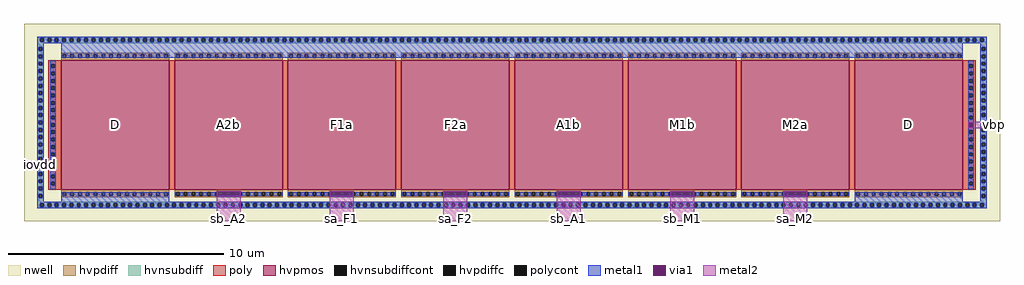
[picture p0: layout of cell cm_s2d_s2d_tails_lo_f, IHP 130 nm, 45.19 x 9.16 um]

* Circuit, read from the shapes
.subckt cm_s2d_s2d_tails_lo_f iovdd sb_A2 sa_F1 sa_F2 sb_A1 sb_M1 sa_M2 vbp
XM1 iovdd vbp iovdd iovdd sg13_hv_pmos w=5u l=6u m=2
XM2 iovdd vbp sb_A2 iovdd sg13_hv_pmos w=5u l=6u
XM3 iovdd vbp sa_F1 iovdd sg13_hv_pmos w=5u l=6u
XM4 iovdd vbp sa_F2 iovdd sg13_hv_pmos w=5u l=6u
XM5 iovdd vbp sb_A1 iovdd sg13_hv_pmos w=5u l=6u
XM6 iovdd vbp sb_M1 iovdd sg13_hv_pmos w=5u l=6u
XM7 iovdd vbp sa_M2 iovdd sg13_hv_pmos w=5u l=6u
.ends

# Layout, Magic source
magic
tech ihp-sg13cmos5l
magscale 1 2
<< nwell >>
rect 0 0 9038 1832
<< hvnsubdiff >>
rect 124 1694 8914 1708
rect 124 1662 151 1694
rect 183 1662 219 1694
rect 251 1662 287 1694
rect 319 1662 355 1694
rect 387 1662 423 1694
rect 455 1662 491 1694
rect 523 1662 559 1694
rect 591 1662 627 1694
rect 659 1662 695 1694
rect 727 1662 763 1694
rect 795 1662 831 1694
rect 863 1662 899 1694
rect 931 1662 967 1694
rect 999 1662 1035 1694
rect 1067 1662 1103 1694
rect 1135 1662 1171 1694
rect 1203 1662 1239 1694
rect 1271 1662 1307 1694
rect 1339 1662 1375 1694
rect 1407 1662 1443 1694
rect 1475 1662 1511 1694
rect 1543 1662 1579 1694
rect 1611 1662 1647 1694
rect 1679 1662 1715 1694
rect 1747 1662 1783 1694
rect 1815 1662 1851 1694
rect 1883 1662 1919 1694
rect 1951 1662 1987 1694
rect 2019 1662 2055 1694
rect 2087 1662 2123 1694
rect 2155 1662 2191 1694
rect 2223 1662 2259 1694
rect 2291 1662 2327 1694
rect 2359 1662 2395 1694
rect 2427 1662 2463 1694
rect 2495 1662 2531 1694
rect 2563 1662 2599 1694
rect 2631 1662 2667 1694
rect 2699 1662 2735 1694
rect 2767 1662 2803 1694
rect 2835 1662 2871 1694
rect 2903 1662 2939 1694
rect 2971 1662 3007 1694
rect 3039 1662 3075 1694
rect 3107 1662 3143 1694
rect 3175 1662 3211 1694
rect 3243 1662 3279 1694
rect 3311 1662 3347 1694
rect 3379 1662 3415 1694
rect 3447 1662 3483 1694
rect 3515 1662 3551 1694
rect 3583 1662 3619 1694
rect 3651 1662 3687 1694
rect 3719 1662 3755 1694
rect 3787 1662 3823 1694
rect 3855 1662 3891 1694
rect 3923 1662 3959 1694
rect 3991 1662 4027 1694
rect 4059 1662 4095 1694
rect 4127 1662 4163 1694
rect 4195 1662 4231 1694
rect 4263 1662 4299 1694
rect 4331 1662 4367 1694
rect 4399 1662 4435 1694
rect 4467 1662 4503 1694
rect 4535 1662 4571 1694
rect 4603 1662 4639 1694
rect 4671 1662 4707 1694
rect 4739 1662 4775 1694
rect 4807 1662 4843 1694
rect 4875 1662 4911 1694
rect 4943 1662 4979 1694
rect 5011 1662 5047 1694
rect 5079 1662 5115 1694
rect 5147 1662 5183 1694
rect 5215 1662 5251 1694
rect 5283 1662 5319 1694
rect 5351 1662 5387 1694
rect 5419 1662 5455 1694
rect 5487 1662 5523 1694
rect 5555 1662 5591 1694
rect 5623 1662 5659 1694
rect 5691 1662 5727 1694
rect 5759 1662 5795 1694
rect 5827 1662 5863 1694
rect 5895 1662 5931 1694
rect 5963 1662 5999 1694
rect 6031 1662 6067 1694
rect 6099 1662 6135 1694
rect 6167 1662 6203 1694
rect 6235 1662 6271 1694
rect 6303 1662 6339 1694
rect 6371 1662 6407 1694
rect 6439 1662 6475 1694
rect 6507 1662 6543 1694
rect 6575 1662 6611 1694
rect 6643 1662 6679 1694
rect 6711 1662 6747 1694
rect 6779 1662 6815 1694
rect 6847 1662 6883 1694
rect 6915 1662 6951 1694
rect 6983 1662 7019 1694
rect 7051 1662 7087 1694
rect 7119 1662 7155 1694
rect 7187 1662 7223 1694
rect 7255 1662 7291 1694
rect 7323 1662 7359 1694
rect 7391 1662 7427 1694
rect 7459 1662 7495 1694
rect 7527 1662 7563 1694
rect 7595 1662 7631 1694
rect 7663 1662 7699 1694
rect 7731 1662 7767 1694
rect 7799 1662 7835 1694
rect 7867 1662 7903 1694
rect 7935 1662 7971 1694
rect 8003 1662 8039 1694
rect 8071 1662 8107 1694
rect 8139 1662 8175 1694
rect 8207 1662 8243 1694
rect 8275 1662 8311 1694
rect 8343 1662 8379 1694
rect 8411 1662 8447 1694
rect 8479 1662 8515 1694
rect 8547 1662 8583 1694
rect 8615 1662 8651 1694
rect 8683 1662 8719 1694
rect 8751 1662 8787 1694
rect 8819 1662 8855 1694
rect 8887 1662 8914 1694
rect 124 1648 8914 1662
rect 124 1612 184 1648
rect 124 1580 138 1612
rect 170 1580 184 1612
rect 124 1544 184 1580
rect 124 1512 138 1544
rect 170 1512 184 1544
rect 124 1476 184 1512
rect 8854 1612 8914 1648
rect 8854 1580 8868 1612
rect 8900 1580 8914 1612
rect 8854 1544 8914 1580
rect 8854 1512 8868 1544
rect 8900 1512 8914 1544
rect 124 1444 138 1476
rect 170 1444 184 1476
rect 124 1408 184 1444
rect 124 1376 138 1408
rect 170 1376 184 1408
rect 124 1340 184 1376
rect 124 1308 138 1340
rect 170 1308 184 1340
rect 124 1272 184 1308
rect 124 1240 138 1272
rect 170 1240 184 1272
rect 124 1204 184 1240
rect 124 1172 138 1204
rect 170 1172 184 1204
rect 124 1136 184 1172
rect 124 1104 138 1136
rect 170 1104 184 1136
rect 124 1068 184 1104
rect 124 1036 138 1068
rect 170 1036 184 1068
rect 124 1000 184 1036
rect 124 968 138 1000
rect 170 968 184 1000
rect 124 932 184 968
rect 124 900 138 932
rect 170 900 184 932
rect 124 864 184 900
rect 124 832 138 864
rect 170 832 184 864
rect 124 796 184 832
rect 124 764 138 796
rect 170 764 184 796
rect 124 728 184 764
rect 124 696 138 728
rect 170 696 184 728
rect 124 660 184 696
rect 124 628 138 660
rect 170 628 184 660
rect 124 592 184 628
rect 124 560 138 592
rect 170 560 184 592
rect 124 524 184 560
rect 124 492 138 524
rect 170 492 184 524
rect 124 456 184 492
rect 124 424 138 456
rect 170 424 184 456
rect 124 388 184 424
rect 124 356 138 388
rect 170 356 184 388
rect 124 320 184 356
rect 124 288 138 320
rect 170 288 184 320
rect 8854 1476 8914 1512
rect 8854 1444 8868 1476
rect 8900 1444 8914 1476
rect 8854 1408 8914 1444
rect 8854 1376 8868 1408
rect 8900 1376 8914 1408
rect 8854 1340 8914 1376
rect 8854 1308 8868 1340
rect 8900 1308 8914 1340
rect 8854 1272 8914 1308
rect 8854 1240 8868 1272
rect 8900 1240 8914 1272
rect 8854 1204 8914 1240
rect 8854 1172 8868 1204
rect 8900 1172 8914 1204
rect 8854 1136 8914 1172
rect 8854 1104 8868 1136
rect 8900 1104 8914 1136
rect 8854 1068 8914 1104
rect 8854 1036 8868 1068
rect 8900 1036 8914 1068
rect 8854 1000 8914 1036
rect 8854 968 8868 1000
rect 8900 968 8914 1000
rect 8854 932 8914 968
rect 8854 900 8868 932
rect 8900 900 8914 932
rect 8854 864 8914 900
rect 8854 832 8868 864
rect 8900 832 8914 864
rect 8854 796 8914 832
rect 8854 764 8868 796
rect 8900 764 8914 796
rect 8854 728 8914 764
rect 8854 696 8868 728
rect 8900 696 8914 728
rect 8854 660 8914 696
rect 8854 628 8868 660
rect 8900 628 8914 660
rect 8854 592 8914 628
rect 8854 560 8868 592
rect 8900 560 8914 592
rect 8854 524 8914 560
rect 8854 492 8868 524
rect 8900 492 8914 524
rect 8854 456 8914 492
rect 8854 424 8868 456
rect 8900 424 8914 456
rect 8854 388 8914 424
rect 8854 356 8868 388
rect 8900 356 8914 388
rect 8854 320 8914 356
rect 124 252 184 288
rect 124 220 138 252
rect 170 220 184 252
rect 124 184 184 220
rect 8854 288 8868 320
rect 8900 288 8914 320
rect 8854 252 8914 288
rect 8854 220 8868 252
rect 8900 220 8914 252
rect 8854 184 8914 220
rect 124 170 8914 184
rect 124 138 151 170
rect 183 138 219 170
rect 251 138 287 170
rect 319 138 355 170
rect 387 138 423 170
rect 455 138 491 170
rect 523 138 559 170
rect 591 138 627 170
rect 659 138 695 170
rect 727 138 763 170
rect 795 138 831 170
rect 863 138 899 170
rect 931 138 967 170
rect 999 138 1035 170
rect 1067 138 1103 170
rect 1135 138 1171 170
rect 1203 138 1239 170
rect 1271 138 1307 170
rect 1339 138 1375 170
rect 1407 138 1443 170
rect 1475 138 1511 170
rect 1543 138 1579 170
rect 1611 138 1647 170
rect 1679 138 1715 170
rect 1747 138 1783 170
rect 1815 138 1851 170
rect 1883 138 1919 170
rect 1951 138 1987 170
rect 2019 138 2055 170
rect 2087 138 2123 170
rect 2155 138 2191 170
rect 2223 138 2259 170
rect 2291 138 2327 170
rect 2359 138 2395 170
rect 2427 138 2463 170
rect 2495 138 2531 170
rect 2563 138 2599 170
rect 2631 138 2667 170
rect 2699 138 2735 170
rect 2767 138 2803 170
rect 2835 138 2871 170
rect 2903 138 2939 170
rect 2971 138 3007 170
rect 3039 138 3075 170
rect 3107 138 3143 170
rect 3175 138 3211 170
rect 3243 138 3279 170
rect 3311 138 3347 170
rect 3379 138 3415 170
rect 3447 138 3483 170
rect 3515 138 3551 170
rect 3583 138 3619 170
rect 3651 138 3687 170
rect 3719 138 3755 170
rect 3787 138 3823 170
rect 3855 138 3891 170
rect 3923 138 3959 170
rect 3991 138 4027 170
rect 4059 138 4095 170
rect 4127 138 4163 170
rect 4195 138 4231 170
rect 4263 138 4299 170
rect 4331 138 4367 170
rect 4399 138 4435 170
rect 4467 138 4503 170
rect 4535 138 4571 170
rect 4603 138 4639 170
rect 4671 138 4707 170
rect 4739 138 4775 170
rect 4807 138 4843 170
rect 4875 138 4911 170
rect 4943 138 4979 170
rect 5011 138 5047 170
rect 5079 138 5115 170
rect 5147 138 5183 170
rect 5215 138 5251 170
rect 5283 138 5319 170
rect 5351 138 5387 170
rect 5419 138 5455 170
rect 5487 138 5523 170
rect 5555 138 5591 170
rect 5623 138 5659 170
rect 5691 138 5727 170
rect 5759 138 5795 170
rect 5827 138 5863 170
rect 5895 138 5931 170
rect 5963 138 5999 170
rect 6031 138 6067 170
rect 6099 138 6135 170
rect 6167 138 6203 170
rect 6235 138 6271 170
rect 6303 138 6339 170
rect 6371 138 6407 170
rect 6439 138 6475 170
rect 6507 138 6543 170
rect 6575 138 6611 170
rect 6643 138 6679 170
rect 6711 138 6747 170
rect 6779 138 6815 170
rect 6847 138 6883 170
rect 6915 138 6951 170
rect 6983 138 7019 170
rect 7051 138 7087 170
rect 7119 138 7155 170
rect 7187 138 7223 170
rect 7255 138 7291 170
rect 7323 138 7359 170
rect 7391 138 7427 170
rect 7459 138 7495 170
rect 7527 138 7563 170
rect 7595 138 7631 170
rect 7663 138 7699 170
rect 7731 138 7767 170
rect 7799 138 7835 170
rect 7867 138 7903 170
rect 7935 138 7971 170
rect 8003 138 8039 170
rect 8071 138 8107 170
rect 8139 138 8175 170
rect 8207 138 8243 170
rect 8275 138 8311 170
rect 8343 138 8379 170
rect 8411 138 8447 170
rect 8479 138 8515 170
rect 8547 138 8583 170
rect 8615 138 8651 170
rect 8683 138 8719 170
rect 8751 138 8787 170
rect 8819 138 8855 170
rect 8887 138 8914 170
rect 124 124 8914 138
<< hvnsubdiffcont >>
rect 151 1662 183 1694
rect 219 1662 251 1694
rect 287 1662 319 1694
rect 355 1662 387 1694
rect 423 1662 455 1694
rect 491 1662 523 1694
rect 559 1662 591 1694
rect 627 1662 659 1694
rect 695 1662 727 1694
rect 763 1662 795 1694
rect 831 1662 863 1694
rect 899 1662 931 1694
rect 967 1662 999 1694
rect 1035 1662 1067 1694
rect 1103 1662 1135 1694
rect 1171 1662 1203 1694
rect 1239 1662 1271 1694
rect 1307 1662 1339 1694
rect 1375 1662 1407 1694
rect 1443 1662 1475 1694
rect 1511 1662 1543 1694
rect 1579 1662 1611 1694
rect 1647 1662 1679 1694
rect 1715 1662 1747 1694
rect 1783 1662 1815 1694
rect 1851 1662 1883 1694
rect 1919 1662 1951 1694
rect 1987 1662 2019 1694
rect 2055 1662 2087 1694
rect 2123 1662 2155 1694
rect 2191 1662 2223 1694
rect 2259 1662 2291 1694
rect 2327 1662 2359 1694
rect 2395 1662 2427 1694
rect 2463 1662 2495 1694
rect 2531 1662 2563 1694
rect 2599 1662 2631 1694
rect 2667 1662 2699 1694
rect 2735 1662 2767 1694
rect 2803 1662 2835 1694
rect 2871 1662 2903 1694
rect 2939 1662 2971 1694
rect 3007 1662 3039 1694
rect 3075 1662 3107 1694
rect 3143 1662 3175 1694
rect 3211 1662 3243 1694
rect 3279 1662 3311 1694
rect 3347 1662 3379 1694
rect 3415 1662 3447 1694
rect 3483 1662 3515 1694
rect 3551 1662 3583 1694
rect 3619 1662 3651 1694
rect 3687 1662 3719 1694
rect 3755 1662 3787 1694
rect 3823 1662 3855 1694
rect 3891 1662 3923 1694
rect 3959 1662 3991 1694
rect 4027 1662 4059 1694
rect 4095 1662 4127 1694
rect 4163 1662 4195 1694
rect 4231 1662 4263 1694
rect 4299 1662 4331 1694
rect 4367 1662 4399 1694
rect 4435 1662 4467 1694
rect 4503 1662 4535 1694
rect 4571 1662 4603 1694
rect 4639 1662 4671 1694
rect 4707 1662 4739 1694
rect 4775 1662 4807 1694
rect 4843 1662 4875 1694
rect 4911 1662 4943 1694
rect 4979 1662 5011 1694
rect 5047 1662 5079 1694
rect 5115 1662 5147 1694
rect 5183 1662 5215 1694
rect 5251 1662 5283 1694
rect 5319 1662 5351 1694
rect 5387 1662 5419 1694
rect 5455 1662 5487 1694
rect 5523 1662 5555 1694
rect 5591 1662 5623 1694
rect 5659 1662 5691 1694
rect 5727 1662 5759 1694
rect 5795 1662 5827 1694
rect 5863 1662 5895 1694
rect 5931 1662 5963 1694
rect 5999 1662 6031 1694
rect 6067 1662 6099 1694
rect 6135 1662 6167 1694
rect 6203 1662 6235 1694
rect 6271 1662 6303 1694
rect 6339 1662 6371 1694
rect 6407 1662 6439 1694
rect 6475 1662 6507 1694
rect 6543 1662 6575 1694
rect 6611 1662 6643 1694
rect 6679 1662 6711 1694
rect 6747 1662 6779 1694
rect 6815 1662 6847 1694
rect 6883 1662 6915 1694
rect 6951 1662 6983 1694
rect 7019 1662 7051 1694
rect 7087 1662 7119 1694
rect 7155 1662 7187 1694
rect 7223 1662 7255 1694
rect 7291 1662 7323 1694
rect 7359 1662 7391 1694
rect 7427 1662 7459 1694
rect 7495 1662 7527 1694
rect 7563 1662 7595 1694
rect 7631 1662 7663 1694
rect 7699 1662 7731 1694
rect 7767 1662 7799 1694
rect 7835 1662 7867 1694
rect 7903 1662 7935 1694
rect 7971 1662 8003 1694
rect 8039 1662 8071 1694
rect 8107 1662 8139 1694
rect 8175 1662 8207 1694
rect 8243 1662 8275 1694
rect 8311 1662 8343 1694
rect 8379 1662 8411 1694
rect 8447 1662 8479 1694
rect 8515 1662 8547 1694
rect 8583 1662 8615 1694
rect 8651 1662 8683 1694
rect 8719 1662 8751 1694
rect 8787 1662 8819 1694
rect 8855 1662 8887 1694
rect 138 1580 170 1612
rect 138 1512 170 1544
rect 8868 1580 8900 1612
rect 8868 1512 8900 1544
rect 138 1444 170 1476
rect 138 1376 170 1408
rect 138 1308 170 1340
rect 138 1240 170 1272
rect 138 1172 170 1204
rect 138 1104 170 1136
rect 138 1036 170 1068
rect 138 968 170 1000
rect 138 900 170 932
rect 138 832 170 864
rect 138 764 170 796
rect 138 696 170 728
rect 138 628 170 660
rect 138 560 170 592
rect 138 492 170 524
rect 138 424 170 456
rect 138 356 170 388
rect 138 288 170 320
rect 8868 1444 8900 1476
rect 8868 1376 8900 1408
rect 8868 1308 8900 1340
rect 8868 1240 8900 1272
rect 8868 1172 8900 1204
rect 8868 1104 8900 1136
rect 8868 1036 8900 1068
rect 8868 968 8900 1000
rect 8868 900 8900 932
rect 8868 832 8900 864
rect 8868 764 8900 796
rect 8868 696 8900 728
rect 8868 628 8900 660
rect 8868 560 8900 592
rect 8868 492 8900 524
rect 8868 424 8900 456
rect 8868 356 8900 388
rect 138 220 170 252
rect 8868 288 8900 320
rect 8868 220 8900 252
rect 151 138 183 170
rect 219 138 251 170
rect 287 138 319 170
rect 355 138 387 170
rect 423 138 455 170
rect 491 138 523 170
rect 559 138 591 170
rect 627 138 659 170
rect 695 138 727 170
rect 763 138 795 170
rect 831 138 863 170
rect 899 138 931 170
rect 967 138 999 170
rect 1035 138 1067 170
rect 1103 138 1135 170
rect 1171 138 1203 170
rect 1239 138 1271 170
rect 1307 138 1339 170
rect 1375 138 1407 170
rect 1443 138 1475 170
rect 1511 138 1543 170
rect 1579 138 1611 170
rect 1647 138 1679 170
rect 1715 138 1747 170
rect 1783 138 1815 170
rect 1851 138 1883 170
rect 1919 138 1951 170
rect 1987 138 2019 170
rect 2055 138 2087 170
rect 2123 138 2155 170
rect 2191 138 2223 170
rect 2259 138 2291 170
rect 2327 138 2359 170
rect 2395 138 2427 170
rect 2463 138 2495 170
rect 2531 138 2563 170
rect 2599 138 2631 170
rect 2667 138 2699 170
rect 2735 138 2767 170
rect 2803 138 2835 170
rect 2871 138 2903 170
rect 2939 138 2971 170
rect 3007 138 3039 170
rect 3075 138 3107 170
rect 3143 138 3175 170
rect 3211 138 3243 170
rect 3279 138 3311 170
rect 3347 138 3379 170
rect 3415 138 3447 170
rect 3483 138 3515 170
rect 3551 138 3583 170
rect 3619 138 3651 170
rect 3687 138 3719 170
rect 3755 138 3787 170
rect 3823 138 3855 170
rect 3891 138 3923 170
rect 3959 138 3991 170
rect 4027 138 4059 170
rect 4095 138 4127 170
rect 4163 138 4195 170
rect 4231 138 4263 170
rect 4299 138 4331 170
rect 4367 138 4399 170
rect 4435 138 4467 170
rect 4503 138 4535 170
rect 4571 138 4603 170
rect 4639 138 4671 170
rect 4707 138 4739 170
rect 4775 138 4807 170
rect 4843 138 4875 170
rect 4911 138 4943 170
rect 4979 138 5011 170
rect 5047 138 5079 170
rect 5115 138 5147 170
rect 5183 138 5215 170
rect 5251 138 5283 170
rect 5319 138 5351 170
rect 5387 138 5419 170
rect 5455 138 5487 170
rect 5523 138 5555 170
rect 5591 138 5623 170
rect 5659 138 5691 170
rect 5727 138 5759 170
rect 5795 138 5827 170
rect 5863 138 5895 170
rect 5931 138 5963 170
rect 5999 138 6031 170
rect 6067 138 6099 170
rect 6135 138 6167 170
rect 6203 138 6235 170
rect 6271 138 6303 170
rect 6339 138 6371 170
rect 6407 138 6439 170
rect 6475 138 6507 170
rect 6543 138 6575 170
rect 6611 138 6643 170
rect 6679 138 6711 170
rect 6747 138 6779 170
rect 6815 138 6847 170
rect 6883 138 6915 170
rect 6951 138 6983 170
rect 7019 138 7051 170
rect 7087 138 7119 170
rect 7155 138 7187 170
rect 7223 138 7255 170
rect 7291 138 7323 170
rect 7359 138 7391 170
rect 7427 138 7459 170
rect 7495 138 7527 170
rect 7563 138 7595 170
rect 7631 138 7663 170
rect 7699 138 7731 170
rect 7767 138 7799 170
rect 7835 138 7867 170
rect 7903 138 7935 170
rect 7971 138 8003 170
rect 8039 138 8071 170
rect 8107 138 8139 170
rect 8175 138 8207 170
rect 8243 138 8275 170
rect 8311 138 8343 170
rect 8379 138 8411 170
rect 8447 138 8479 170
rect 8515 138 8547 170
rect 8583 138 8615 170
rect 8651 138 8683 170
rect 8719 138 8751 170
rect 8787 138 8819 170
rect 8855 138 8887 170
<< poly >>
rect 224 1454 344 1494
rect 224 1422 252 1454
rect 284 1422 344 1454
rect 224 1386 344 1422
rect 224 1354 252 1386
rect 284 1354 344 1386
rect 224 1318 344 1354
rect 224 1286 252 1318
rect 284 1286 344 1318
rect 224 1250 344 1286
rect 224 1218 252 1250
rect 284 1218 344 1250
rect 224 1182 344 1218
rect 224 1150 252 1182
rect 284 1150 344 1182
rect 224 1114 344 1150
rect 224 1082 252 1114
rect 284 1082 344 1114
rect 224 1046 344 1082
rect 224 1014 252 1046
rect 284 1014 344 1046
rect 224 978 344 1014
rect 224 946 252 978
rect 284 946 344 978
rect 224 910 344 946
rect 224 878 252 910
rect 284 878 344 910
rect 224 842 344 878
rect 224 810 252 842
rect 284 810 344 842
rect 224 774 344 810
rect 224 742 252 774
rect 284 742 344 774
rect 224 706 344 742
rect 224 674 252 706
rect 284 674 344 706
rect 224 638 344 674
rect 224 606 252 638
rect 284 606 344 638
rect 224 570 344 606
rect 224 538 252 570
rect 284 538 344 570
rect 224 502 344 538
rect 224 470 252 502
rect 284 470 344 502
rect 224 434 344 470
rect 224 402 252 434
rect 284 402 344 434
rect 224 366 344 402
rect 224 334 252 366
rect 284 334 344 366
rect 224 294 344 334
rect 8694 1454 8814 1494
rect 8694 1422 8754 1454
rect 8786 1422 8814 1454
rect 8694 1386 8814 1422
rect 8694 1354 8754 1386
rect 8786 1354 8814 1386
rect 8694 1318 8814 1354
rect 8694 1286 8754 1318
rect 8786 1286 8814 1318
rect 8694 1250 8814 1286
rect 8694 1218 8754 1250
rect 8786 1218 8814 1250
rect 8694 1182 8814 1218
rect 8694 1150 8754 1182
rect 8786 1150 8814 1182
rect 8694 1114 8814 1150
rect 8694 1082 8754 1114
rect 8786 1082 8814 1114
rect 8694 1046 8814 1082
rect 8694 1014 8754 1046
rect 8786 1014 8814 1046
rect 8694 978 8814 1014
rect 8694 946 8754 978
rect 8786 946 8814 978
rect 8694 910 8814 946
rect 8694 878 8754 910
rect 8786 878 8814 910
rect 8694 842 8814 878
rect 8694 810 8754 842
rect 8786 810 8814 842
rect 8694 774 8814 810
rect 8694 742 8754 774
rect 8786 742 8814 774
rect 8694 706 8814 742
rect 8694 674 8754 706
rect 8786 674 8814 706
rect 8694 638 8814 674
rect 8694 606 8754 638
rect 8786 606 8814 638
rect 8694 570 8814 606
rect 8694 538 8754 570
rect 8786 538 8814 570
rect 8694 502 8814 538
rect 8694 470 8754 502
rect 8786 470 8814 502
rect 8694 434 8814 470
rect 8694 402 8754 434
rect 8786 402 8814 434
rect 8694 366 8814 402
rect 8694 334 8754 366
rect 8786 334 8814 366
rect 8694 294 8814 334
<< polycont >>
rect 252 1422 284 1454
rect 252 1354 284 1386
rect 252 1286 284 1318
rect 252 1218 284 1250
rect 252 1150 284 1182
rect 252 1082 284 1114
rect 252 1014 284 1046
rect 252 946 284 978
rect 252 878 284 910
rect 252 810 284 842
rect 252 742 284 774
rect 252 674 284 706
rect 252 606 284 638
rect 252 538 284 570
rect 252 470 284 502
rect 252 402 284 434
rect 252 334 284 366
rect 8754 1422 8786 1454
rect 8754 1354 8786 1386
rect 8754 1286 8786 1318
rect 8754 1218 8786 1250
rect 8754 1150 8786 1182
rect 8754 1082 8786 1114
rect 8754 1014 8786 1046
rect 8754 946 8786 978
rect 8754 878 8786 910
rect 8754 810 8786 842
rect 8754 742 8786 774
rect 8754 674 8786 706
rect 8754 606 8786 638
rect 8754 538 8786 570
rect 8754 470 8786 502
rect 8754 402 8786 434
rect 8754 334 8786 366
<< metal1 >>
rect 124 1694 8914 1708
rect 124 1662 151 1694
rect 183 1662 219 1694
rect 251 1662 287 1694
rect 319 1662 355 1694
rect 387 1662 423 1694
rect 455 1662 491 1694
rect 523 1662 559 1694
rect 591 1662 627 1694
rect 659 1662 695 1694
rect 727 1662 763 1694
rect 795 1662 831 1694
rect 863 1662 899 1694
rect 931 1662 967 1694
rect 999 1662 1035 1694
rect 1067 1662 1103 1694
rect 1135 1662 1171 1694
rect 1203 1662 1239 1694
rect 1271 1662 1307 1694
rect 1339 1662 1375 1694
rect 1407 1662 1443 1694
rect 1475 1662 1511 1694
rect 1543 1662 1579 1694
rect 1611 1662 1647 1694
rect 1679 1662 1715 1694
rect 1747 1662 1783 1694
rect 1815 1662 1851 1694
rect 1883 1662 1919 1694
rect 1951 1662 1987 1694
rect 2019 1662 2055 1694
rect 2087 1662 2123 1694
rect 2155 1662 2191 1694
rect 2223 1662 2259 1694
rect 2291 1662 2327 1694
rect 2359 1662 2395 1694
rect 2427 1662 2463 1694
rect 2495 1662 2531 1694
rect 2563 1662 2599 1694
rect 2631 1662 2667 1694
rect 2699 1662 2735 1694
rect 2767 1662 2803 1694
rect 2835 1662 2871 1694
rect 2903 1662 2939 1694
rect 2971 1662 3007 1694
rect 3039 1662 3075 1694
rect 3107 1662 3143 1694
rect 3175 1662 3211 1694
rect 3243 1662 3279 1694
rect 3311 1662 3347 1694
rect 3379 1662 3415 1694
rect 3447 1662 3483 1694
rect 3515 1662 3551 1694
rect 3583 1662 3619 1694
rect 3651 1662 3687 1694
rect 3719 1662 3755 1694
rect 3787 1662 3823 1694
rect 3855 1662 3891 1694
rect 3923 1662 3959 1694
rect 3991 1662 4027 1694
rect 4059 1662 4095 1694
rect 4127 1662 4163 1694
rect 4195 1662 4231 1694
rect 4263 1662 4299 1694
rect 4331 1662 4367 1694
rect 4399 1662 4435 1694
rect 4467 1662 4503 1694
rect 4535 1662 4571 1694
rect 4603 1662 4639 1694
rect 4671 1662 4707 1694
rect 4739 1662 4775 1694
rect 4807 1662 4843 1694
rect 4875 1662 4911 1694
rect 4943 1662 4979 1694
rect 5011 1662 5047 1694
rect 5079 1662 5115 1694
rect 5147 1662 5183 1694
rect 5215 1662 5251 1694
rect 5283 1662 5319 1694
rect 5351 1662 5387 1694
rect 5419 1662 5455 1694
rect 5487 1662 5523 1694
rect 5555 1662 5591 1694
rect 5623 1662 5659 1694
rect 5691 1662 5727 1694
rect 5759 1662 5795 1694
rect 5827 1662 5863 1694
rect 5895 1662 5931 1694
rect 5963 1662 5999 1694
rect 6031 1662 6067 1694
rect 6099 1662 6135 1694
rect 6167 1662 6203 1694
rect 6235 1662 6271 1694
rect 6303 1662 6339 1694
rect 6371 1662 6407 1694
rect 6439 1662 6475 1694
rect 6507 1662 6543 1694
rect 6575 1662 6611 1694
rect 6643 1662 6679 1694
rect 6711 1662 6747 1694
rect 6779 1662 6815 1694
rect 6847 1662 6883 1694
rect 6915 1662 6951 1694
rect 6983 1662 7019 1694
rect 7051 1662 7087 1694
rect 7119 1662 7155 1694
rect 7187 1662 7223 1694
rect 7255 1662 7291 1694
rect 7323 1662 7359 1694
rect 7391 1662 7427 1694
rect 7459 1662 7495 1694
rect 7527 1662 7563 1694
rect 7595 1662 7631 1694
rect 7663 1662 7699 1694
rect 7731 1662 7767 1694
rect 7799 1662 7835 1694
rect 7867 1662 7903 1694
rect 7935 1662 7971 1694
rect 8003 1662 8039 1694
rect 8071 1662 8107 1694
rect 8139 1662 8175 1694
rect 8207 1662 8243 1694
rect 8275 1662 8311 1694
rect 8343 1662 8379 1694
rect 8411 1662 8447 1694
rect 8479 1662 8515 1694
rect 8547 1662 8583 1694
rect 8615 1662 8651 1694
rect 8683 1662 8719 1694
rect 8751 1662 8787 1694
rect 8819 1662 8855 1694
rect 8887 1662 8914 1694
rect 124 1648 8914 1662
rect 124 1612 184 1648
rect 124 1580 138 1612
rect 170 1580 184 1612
rect 124 1544 184 1580
rect 124 1512 138 1544
rect 170 1512 184 1544
rect 344 1516 8694 1648
rect 8854 1612 8914 1648
rect 8854 1580 8868 1612
rect 8900 1580 8914 1612
rect 8854 1544 8914 1580
rect 124 1476 184 1512
rect 8854 1512 8868 1544
rect 8900 1512 8914 1544
rect 124 1444 138 1476
rect 170 1444 184 1476
rect 124 1408 184 1444
rect 124 1376 138 1408
rect 170 1376 184 1408
rect 124 1340 184 1376
rect 124 1308 138 1340
rect 170 1308 184 1340
rect 124 1272 184 1308
rect 124 1240 138 1272
rect 170 1240 184 1272
rect 124 1204 184 1240
rect 124 1172 138 1204
rect 170 1172 184 1204
rect 124 1136 184 1172
rect 124 1104 138 1136
rect 170 1104 184 1136
rect 124 1068 184 1104
rect 124 1036 138 1068
rect 170 1036 184 1068
rect 124 1000 184 1036
rect 124 968 138 1000
rect 170 968 184 1000
rect 124 932 184 968
rect 124 900 138 932
rect 170 900 184 932
rect 124 864 184 900
rect 124 832 138 864
rect 170 832 184 864
rect 124 796 184 832
rect 124 764 138 796
rect 170 764 184 796
rect 124 728 184 764
rect 124 696 138 728
rect 170 696 184 728
rect 124 660 184 696
rect 124 628 138 660
rect 170 628 184 660
rect 124 592 184 628
rect 124 560 138 592
rect 170 560 184 592
rect 124 524 184 560
rect 124 492 138 524
rect 170 492 184 524
rect 124 456 184 492
rect 124 424 138 456
rect 170 424 184 456
rect 124 388 184 424
rect 124 356 138 388
rect 170 356 184 388
rect 124 320 184 356
rect 124 288 138 320
rect 170 288 184 320
rect 242 1454 294 1490
rect 242 1422 252 1454
rect 284 1422 294 1454
rect 242 1386 294 1422
rect 242 1354 252 1386
rect 284 1354 294 1386
rect 242 1318 294 1354
rect 242 1286 252 1318
rect 284 1286 294 1318
rect 242 1250 294 1286
rect 242 1218 252 1250
rect 284 1218 294 1250
rect 242 1182 294 1218
rect 242 1150 252 1182
rect 284 1150 294 1182
rect 242 1114 294 1150
rect 242 1082 252 1114
rect 284 1082 294 1114
rect 242 1046 294 1082
rect 242 1014 252 1046
rect 284 1014 294 1046
rect 242 978 294 1014
rect 242 946 252 978
rect 284 946 294 978
rect 242 910 294 946
rect 242 878 252 910
rect 284 878 294 910
rect 242 842 294 878
rect 242 810 252 842
rect 284 810 294 842
rect 242 774 294 810
rect 242 742 252 774
rect 284 742 294 774
rect 242 706 294 742
rect 242 674 252 706
rect 284 674 294 706
rect 242 638 294 674
rect 242 606 252 638
rect 284 606 294 638
rect 242 570 294 606
rect 242 538 252 570
rect 284 538 294 570
rect 242 502 294 538
rect 242 470 252 502
rect 284 470 294 502
rect 242 434 294 470
rect 242 402 252 434
rect 284 402 294 434
rect 242 366 294 402
rect 242 334 252 366
rect 284 334 294 366
rect 242 298 294 334
rect 8744 1454 8796 1490
rect 8744 1422 8754 1454
rect 8786 1422 8796 1454
rect 8744 1386 8796 1422
rect 8744 1354 8754 1386
rect 8786 1354 8796 1386
rect 8744 1318 8796 1354
rect 8744 1286 8754 1318
rect 8786 1286 8796 1318
rect 8744 1250 8796 1286
rect 8744 1218 8754 1250
rect 8786 1218 8796 1250
rect 8744 1182 8796 1218
rect 8744 1150 8754 1182
rect 8786 1150 8796 1182
rect 8744 1114 8796 1150
rect 8744 1082 8754 1114
rect 8786 1082 8796 1114
rect 8744 1046 8796 1082
rect 8744 1014 8754 1046
rect 8786 1014 8796 1046
rect 8744 978 8796 1014
rect 8744 946 8754 978
rect 8786 946 8796 978
rect 8744 914 8796 946
rect 8744 874 8750 914
rect 8790 874 8796 914
rect 8744 842 8796 874
rect 8744 810 8754 842
rect 8786 810 8796 842
rect 8744 774 8796 810
rect 8744 742 8754 774
rect 8786 742 8796 774
rect 8744 706 8796 742
rect 8744 674 8754 706
rect 8786 674 8796 706
rect 8744 638 8796 674
rect 8744 606 8754 638
rect 8786 606 8796 638
rect 8744 570 8796 606
rect 8744 538 8754 570
rect 8786 538 8796 570
rect 8744 502 8796 538
rect 8744 470 8754 502
rect 8786 470 8796 502
rect 8744 434 8796 470
rect 8744 402 8754 434
rect 8786 402 8796 434
rect 8744 366 8796 402
rect 8744 334 8754 366
rect 8786 334 8796 366
rect 8744 298 8796 334
rect 8854 1476 8914 1512
rect 8854 1444 8868 1476
rect 8900 1444 8914 1476
rect 8854 1408 8914 1444
rect 8854 1376 8868 1408
rect 8900 1376 8914 1408
rect 8854 1340 8914 1376
rect 8854 1308 8868 1340
rect 8900 1308 8914 1340
rect 8854 1272 8914 1308
rect 8854 1240 8868 1272
rect 8900 1240 8914 1272
rect 8854 1204 8914 1240
rect 8854 1172 8868 1204
rect 8900 1172 8914 1204
rect 8854 1136 8914 1172
rect 8854 1104 8868 1136
rect 8900 1104 8914 1136
rect 8854 1068 8914 1104
rect 8854 1036 8868 1068
rect 8900 1036 8914 1068
rect 8854 1000 8914 1036
rect 8854 968 8868 1000
rect 8900 968 8914 1000
rect 8854 932 8914 968
rect 8854 900 8868 932
rect 8900 900 8914 932
rect 8854 864 8914 900
rect 8854 832 8868 864
rect 8900 832 8914 864
rect 8854 796 8914 832
rect 8854 764 8868 796
rect 8900 764 8914 796
rect 8854 728 8914 764
rect 8854 696 8868 728
rect 8900 696 8914 728
rect 8854 660 8914 696
rect 8854 628 8868 660
rect 8900 628 8914 660
rect 8854 592 8914 628
rect 8854 560 8868 592
rect 8900 560 8914 592
rect 8854 524 8914 560
rect 8854 492 8868 524
rect 8900 492 8914 524
rect 8854 456 8914 492
rect 8854 424 8868 456
rect 8900 424 8914 456
rect 8854 388 8914 424
rect 8854 356 8868 388
rect 8900 356 8914 388
rect 8854 320 8914 356
rect 124 252 184 288
rect 8854 288 8868 320
rect 8900 288 8914 320
rect 1783 277 2005 286
rect 124 220 138 252
rect 170 220 184 252
rect 124 184 184 220
rect 344 184 1344 272
rect 1783 237 1792 277
rect 1996 237 2005 277
rect 1783 228 2005 237
rect 2833 277 3055 286
rect 2833 237 2842 277
rect 3046 237 3055 277
rect 2833 228 3055 237
rect 3883 277 4105 286
rect 3883 237 3892 277
rect 4096 237 4105 277
rect 3883 228 4105 237
rect 4933 277 5155 286
rect 4933 237 4942 277
rect 5146 237 5155 277
rect 4933 228 5155 237
rect 5983 277 6205 286
rect 5983 237 5992 277
rect 6196 237 6205 277
rect 5983 228 6205 237
rect 7033 277 7255 286
rect 7033 237 7042 277
rect 7246 237 7255 277
rect 7033 228 7255 237
rect 7694 184 8694 272
rect 8854 252 8914 288
rect 8854 220 8868 252
rect 8900 220 8914 252
rect 8854 184 8914 220
rect 124 170 8914 184
rect 124 138 151 170
rect 183 138 219 170
rect 251 138 287 170
rect 319 138 355 170
rect 387 138 423 170
rect 455 138 491 170
rect 523 138 559 170
rect 591 138 627 170
rect 659 138 695 170
rect 727 138 763 170
rect 795 138 831 170
rect 863 138 899 170
rect 931 138 967 170
rect 999 138 1035 170
rect 1067 138 1103 170
rect 1135 138 1171 170
rect 1203 138 1239 170
rect 1271 138 1307 170
rect 1339 138 1375 170
rect 1407 138 1443 170
rect 1475 138 1511 170
rect 1543 138 1579 170
rect 1611 138 1647 170
rect 1679 138 1715 170
rect 1747 138 1783 170
rect 1815 138 1851 170
rect 1883 138 1919 170
rect 1951 138 1987 170
rect 2019 138 2055 170
rect 2087 138 2123 170
rect 2155 138 2191 170
rect 2223 138 2259 170
rect 2291 138 2327 170
rect 2359 138 2395 170
rect 2427 138 2463 170
rect 2495 138 2531 170
rect 2563 138 2599 170
rect 2631 138 2667 170
rect 2699 138 2735 170
rect 2767 138 2803 170
rect 2835 138 2871 170
rect 2903 138 2939 170
rect 2971 138 3007 170
rect 3039 138 3075 170
rect 3107 138 3143 170
rect 3175 138 3211 170
rect 3243 138 3279 170
rect 3311 138 3347 170
rect 3379 138 3415 170
rect 3447 138 3483 170
rect 3515 138 3551 170
rect 3583 138 3619 170
rect 3651 138 3687 170
rect 3719 138 3755 170
rect 3787 138 3823 170
rect 3855 138 3891 170
rect 3923 138 3959 170
rect 3991 138 4027 170
rect 4059 138 4095 170
rect 4127 138 4163 170
rect 4195 138 4231 170
rect 4263 138 4299 170
rect 4331 138 4367 170
rect 4399 138 4435 170
rect 4467 138 4503 170
rect 4535 138 4571 170
rect 4603 138 4639 170
rect 4671 138 4707 170
rect 4739 138 4775 170
rect 4807 138 4843 170
rect 4875 138 4911 170
rect 4943 138 4979 170
rect 5011 138 5047 170
rect 5079 138 5115 170
rect 5147 138 5183 170
rect 5215 138 5251 170
rect 5283 138 5319 170
rect 5351 138 5387 170
rect 5419 138 5455 170
rect 5487 138 5523 170
rect 5555 138 5591 170
rect 5623 138 5659 170
rect 5691 138 5727 170
rect 5759 138 5795 170
rect 5827 138 5863 170
rect 5895 138 5931 170
rect 5963 138 5999 170
rect 6031 138 6067 170
rect 6099 138 6135 170
rect 6167 138 6203 170
rect 6235 138 6271 170
rect 6303 138 6339 170
rect 6371 138 6407 170
rect 6439 138 6475 170
rect 6507 138 6543 170
rect 6575 138 6611 170
rect 6643 138 6679 170
rect 6711 138 6747 170
rect 6779 138 6815 170
rect 6847 138 6883 170
rect 6915 138 6951 170
rect 6983 138 7019 170
rect 7051 138 7087 170
rect 7119 138 7155 170
rect 7187 138 7223 170
rect 7255 138 7291 170
rect 7323 138 7359 170
rect 7391 138 7427 170
rect 7459 138 7495 170
rect 7527 138 7563 170
rect 7595 138 7631 170
rect 7663 138 7699 170
rect 7731 138 7767 170
rect 7799 138 7835 170
rect 7867 138 7903 170
rect 7935 138 7971 170
rect 8003 138 8039 170
rect 8071 138 8107 170
rect 8139 138 8175 170
rect 8207 138 8243 170
rect 8275 138 8311 170
rect 8343 138 8379 170
rect 8411 138 8447 170
rect 8479 138 8515 170
rect 8547 138 8583 170
rect 8615 138 8651 170
rect 8683 138 8719 170
rect 8751 138 8787 170
rect 8819 138 8855 170
rect 8887 138 8914 170
rect 124 124 8914 138
<< via1 >>
rect 8750 910 8790 914
rect 8750 878 8754 910
rect 8754 878 8786 910
rect 8786 878 8790 910
rect 8750 874 8790 878
rect 1792 237 1996 277
rect 2842 237 3046 277
rect 3892 237 4096 277
rect 4942 237 5146 277
rect 5992 237 6196 277
rect 7042 237 7246 277
<< metal2 >>
rect 8744 914 9038 924
rect 8744 874 8750 914
rect 8790 874 9038 914
rect 8744 864 9038 874
rect 1783 277 2005 286
rect 1783 237 1792 277
rect 1996 237 2005 277
rect 1783 0 2005 237
rect 2833 277 3055 286
rect 2833 237 2842 277
rect 3046 237 3055 277
rect 2833 0 3055 237
rect 3883 277 4105 286
rect 3883 237 3892 277
rect 4096 237 4105 277
rect 3883 0 4105 237
rect 4933 277 5155 286
rect 4933 237 4942 277
rect 5146 237 5155 277
rect 4933 0 5155 237
rect 5983 277 6205 286
rect 5983 237 5992 277
rect 6196 237 6205 277
rect 5983 0 6205 237
rect 7033 277 7255 286
rect 7033 237 7042 277
rect 7246 237 7255 277
rect 7033 0 7255 237
use cm_s2d_pmosHV_w5_l6  cm_s2d_pmosHV_w5_l6_0
transform 0 -1 8694 -1 0 1562
box -124 -124 1460 1124
use cm_s2d_pmosHV_w5_l6  cm_s2d_pmosHV_w5_l6_1
transform 0 -1 7644 -1 0 1562
box -124 -124 1460 1124
use cm_s2d_pmosHV_w5_l6  cm_s2d_pmosHV_w5_l6_2
transform 0 -1 6594 -1 0 1562
box -124 -124 1460 1124
use cm_s2d_pmosHV_w5_l6  cm_s2d_pmosHV_w5_l6_3
transform 0 -1 5544 -1 0 1562
box -124 -124 1460 1124
use cm_s2d_pmosHV_w5_l6  cm_s2d_pmosHV_w5_l6_4
transform 0 1 3494 -1 0 1562
box -124 -124 1460 1124
use cm_s2d_pmosHV_w5_l6  cm_s2d_pmosHV_w5_l6_5
transform 0 1 2444 -1 0 1562
box -124 -124 1460 1124
use cm_s2d_pmosHV_w5_l6  cm_s2d_pmosHV_w5_l6_6
transform 0 1 1394 -1 0 1562
box -124 -124 1460 1124
use cm_s2d_pmosHV_w5_l6  cm_s2d_pmosHV_w5_l6_7
transform 0 1 344 -1 0 1562
box -124 -124 1460 1124
<< labels >>
rlabel comment s 844 894 844 894 4 D
rlabel comment s 1894 894 1894 894 4 A2b
rlabel comment s 2944 894 2944 894 4 F1a
rlabel comment s 3994 894 3994 894 4 F2a
rlabel comment s 5044 894 5044 894 4 A1b
rlabel comment s 6094 894 6094 894 4 M1b
rlabel comment s 7144 894 7144 894 4 M2a
rlabel comment s 8194 894 8194 894 4 D
rlabel metal1 s 124 326 184 726 4 iovdd
port 1 nsew
rlabel metal2 s 1783 0 2005 60 4 sb_A2
port 3 nsew
rlabel metal2 s 2833 0 3055 60 4 sa_F1
port 4 nsew
rlabel metal2 s 3883 0 4105 60 4 sa_F2
port 5 nsew
rlabel metal2 s 4933 0 5155 60 4 sb_A1
port 6 nsew
rlabel metal2 s 5983 0 6205 60 4 sb_M1
port 7 nsew
rlabel metal2 s 7033 0 7255 60 4 sa_M2
port 8 nsew
rlabel metal2 s 8938 864 9038 924 4 vbp
port 9 nsew
<< properties >>
string GDS_END 214500
string GDS_FILE custom_io/gds/sg13cmos5l_IOPadSingle2Diff.uniq.gds
string GDS_START 188326
<< end >>

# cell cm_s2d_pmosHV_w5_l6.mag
magic
tech ihp-sg13cmos5l
magscale 1 2
<< nwell >>
rect -124 -124 1460 1124
<< hvpmos >>
rect 68 0 1268 1000
<< hvpdiff >>
rect 0 986 68 1000
rect 0 954 14 986
rect 46 954 68 986
rect 0 913 68 954
rect 0 881 14 913
rect 46 881 68 913
rect 0 841 68 881
rect 0 809 14 841
rect 46 809 68 841
rect 0 769 68 809
rect 0 737 14 769
rect 46 737 68 769
rect 0 696 68 737
rect 0 664 14 696
rect 46 664 68 696
rect 0 624 68 664
rect 0 592 14 624
rect 46 592 68 624
rect 0 552 68 592
rect 0 520 14 552
rect 46 520 68 552
rect 0 479 68 520
rect 0 447 14 479
rect 46 447 68 479
rect 0 407 68 447
rect 0 375 14 407
rect 46 375 68 407
rect 0 335 68 375
rect 0 303 14 335
rect 46 303 68 335
rect 0 262 68 303
rect 0 230 14 262
rect 46 230 68 262
rect 0 190 68 230
rect 0 158 14 190
rect 46 158 68 190
rect 0 118 68 158
rect 0 86 14 118
rect 46 86 68 118
rect 0 46 68 86
rect 0 14 14 46
rect 46 14 68 46
rect 0 0 68 14
rect 1268 986 1336 1000
rect 1268 954 1290 986
rect 1322 954 1336 986
rect 1268 913 1336 954
rect 1268 881 1290 913
rect 1322 881 1336 913
rect 1268 841 1336 881
rect 1268 809 1290 841
rect 1322 809 1336 841
rect 1268 769 1336 809
rect 1268 737 1290 769
rect 1322 737 1336 769
rect 1268 696 1336 737
rect 1268 664 1290 696
rect 1322 664 1336 696
rect 1268 624 1336 664
rect 1268 592 1290 624
rect 1322 592 1336 624
rect 1268 552 1336 592
rect 1268 520 1290 552
rect 1322 520 1336 552
rect 1268 479 1336 520
rect 1268 447 1290 479
rect 1322 447 1336 479
rect 1268 407 1336 447
rect 1268 375 1290 407
rect 1322 375 1336 407
rect 1268 335 1336 375
rect 1268 303 1290 335
rect 1322 303 1336 335
rect 1268 262 1336 303
rect 1268 230 1290 262
rect 1322 230 1336 262
rect 1268 190 1336 230
rect 1268 158 1290 190
rect 1322 158 1336 190
rect 1268 118 1336 158
rect 1268 86 1290 118
rect 1322 86 1336 118
rect 1268 46 1336 86
rect 1268 14 1290 46
rect 1322 14 1336 46
rect 1268 0 1336 14
<< hvpdiffc >>
rect 14 954 46 986
rect 14 881 46 913
rect 14 809 46 841
rect 14 737 46 769
rect 14 664 46 696
rect 14 592 46 624
rect 14 520 46 552
rect 14 447 46 479
rect 14 375 46 407
rect 14 303 46 335
rect 14 230 46 262
rect 14 158 46 190
rect 14 86 46 118
rect 14 14 46 46
rect 1290 954 1322 986
rect 1290 881 1322 913
rect 1290 809 1322 841
rect 1290 737 1322 769
rect 1290 664 1322 696
rect 1290 592 1322 624
rect 1290 520 1322 552
rect 1290 447 1322 479
rect 1290 375 1322 407
rect 1290 303 1322 335
rect 1290 230 1322 262
rect 1290 158 1322 190
rect 1290 86 1322 118
rect 1290 14 1322 46
<< poly >>
rect 68 1000 1268 1036
rect 68 -36 1268 0
<< metal1 >>
rect 14 986 46 1000
rect 14 913 46 954
rect 14 841 46 881
rect 14 769 46 809
rect 14 696 46 737
rect 14 624 46 664
rect 14 552 46 592
rect 14 479 46 520
rect 14 407 46 447
rect 14 335 46 375
rect 14 262 46 303
rect 14 190 46 230
rect 14 118 46 158
rect 14 46 46 86
rect 14 0 46 14
rect 1290 986 1322 1000
rect 1290 913 1322 954
rect 1290 841 1322 881
rect 1290 769 1322 809
rect 1290 696 1322 737
rect 1290 624 1322 664
rect 1290 552 1322 592
rect 1290 479 1322 520
rect 1290 407 1322 447
rect 1290 335 1322 375
rect 1290 262 1322 303
rect 1290 190 1322 230
rect 1290 118 1322 158
rect 1290 46 1322 86
rect 1290 0 1322 14
<< labels >>
flabel comment s 668 500 668 500 0 FreeSans 200 90 0 0 pmosHV
<< properties >>
string GDS_END 50534
string GDS_FILE custom_io/gds/sg13cmos5l_IOPadSingle2Diff.uniq.gds
string GDS_START 47764
<< end >>
